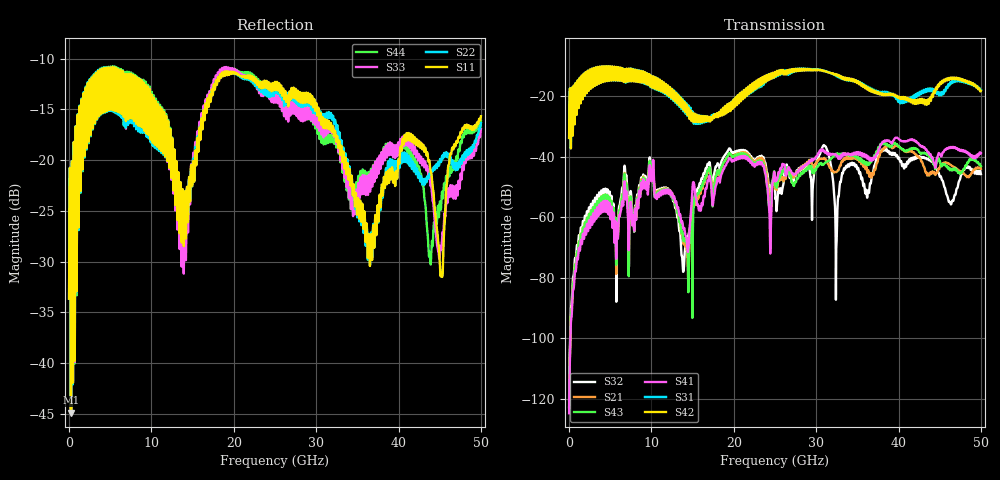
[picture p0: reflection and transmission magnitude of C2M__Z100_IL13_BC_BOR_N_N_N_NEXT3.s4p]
# GHz S MA R 50
! S-Parameters data
! Freq  magS11  angS11  magS12  angS12  magS13  angS13  magS14  angS14
!  magS21  angS21  magS22  angS22  magS23  angS23  magS24  angS24
!  magS31  angS31  magS32  angS32  magS33  angS33  magS34  angS34
!  magS41  angS41  magS42  angS42  magS43  angS43  magS44  angS44
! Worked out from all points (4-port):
!   5000 points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, 10 MHz to 50 GHz, reference 50 ohm
!   strongest paths, dB at 10 MHz, 12.51 GHz, 25.01 GHz, 37.51 GHz, 50 GHz:
!     S42: -33.8, -17.6, -12.1, -18.8, -18.2
!     S31: -33.8, -17.6, -12.2, -18.7, -18.0
!     S41: -124.9, -51.9, -47.4, -38.4, -38.9
!     S43: -122.9, -52.2, -48.3, -37.3, -43.1
!     S21: -122.8, -52.1, -49.5, -40.9, -44.0
!     S32: -120.5, -52.4, -51.2, -39.4, -45.7
!   lowest |S11| = -44.9 dB at 240 MHz (marker M1), VSWR 1.01, Z = 50.2 + j0.529 ohm
!   |S11| at or under -10 dB: start of sweep to end of sweep
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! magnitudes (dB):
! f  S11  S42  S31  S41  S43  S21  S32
! 10 MHz  -33.6  -33.8  -33.8  -124.9  -122.9  -122.8  -120.5
! 240 MHz  -44.9  -30.3  -30.3  -94.3  -92.3  -92.2  -90.1
! 9.94 GHz  -17.0  -14.6  -14.6  -46.4  -45.3  -45.5  -44.5
! 13.85 GHz  -24.0  -23.9  -24.0  -63.5  -67.0  -68.1  -78.0
! 19.42 GHz  -11.6  -23.1  -23.0  -40.6  -38.9  -38.9  -37.3
! 32.46 GHz  -18.1  -13.1  -13.4  -39.8  -39.4  -45.1  -68.9
! 50 GHz  -15.7  -18.2  -18.0  -38.9  -43.1  -44.0  -45.7
